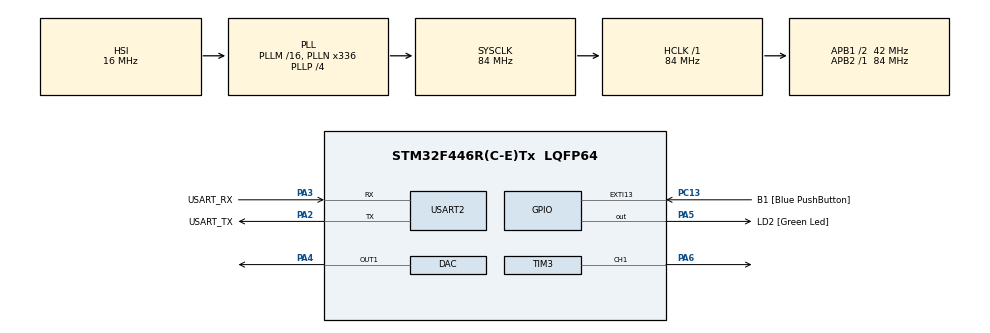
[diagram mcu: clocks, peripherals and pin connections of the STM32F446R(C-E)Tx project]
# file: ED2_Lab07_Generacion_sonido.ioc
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DAC.DAC_Trigger=DAC_TRIGGER_T6_TRGO
Dma.DAC1.0.Direction=DMA_MEMORY_TO_PERIPH
Dma.DAC1.0.FIFOMode=DMA_FIFOMODE_DISABLE
Dma.DAC1.0.Instance=DMA1_Stream5
Dma.DAC1.0.MemDataAlignment=DMA_MDATAALIGN_BYTE
Dma.DAC1.0.MemInc=DMA_MINC_ENABLE
Dma.DAC1.0.Mode=DMA_CIRCULAR
Dma.DAC1.0.PeriphDataAlignment=DMA_PDATAALIGN_BYTE
Dma.DAC1.0.PeriphInc=DMA_PINC_DISABLE
Dma.DAC1.0.Priority=DMA_PRIORITY_LOW
Dma.Request0=DAC1
Mcu.Family=STM32F4
Mcu.Name=STM32F446R(C-E)Tx
Mcu.Package=LQFP64
NVIC.DMA1_Stream5_IRQn=true\:0\:0\:false\:false\:true\:false\:true\:true
NVIC.PriorityGroup=NVIC_PRIORITYGROUP_0
PA13.GPIO_Label=TMS
PA13.Mode=Serial_Wire
PA13.Signal=SYS_JTMS-SWDIO
PA14.GPIO_Label=TCK
PA14.Mode=Serial_Wire
PA14.Signal=SYS_JTCK-SWCLK
PA2.GPIO_Label=USART_TX
PA2.Mode=Asynchronous
PA2.Signal=USART2_TX
PA3.GPIO_Label=USART_RX
PA3.Mode=Asynchronous
PA3.Signal=USART2_RX
PA4.Signal=COMP_DAC1_group
PA5.GPIO_Label=LD2 [Green Led]
PA5.Signal=GPIO_Output
PA6.Signal=S_TIM3_CH1
PB3.GPIO_Label=SWO
PB3.Signal=SYS_JTDO-SWO
PC13.GPIO_Label=B1 [Blue PushButton]
PC13.GPIO_ModeDefaultEXTI=GPIO_MODE_IT_FALLING
PC13.Signal=GPXTI13
PC14-OSC32_IN.Mode=LSE-External-Oscillator
PC14-OSC32_IN.Signal=RCC_OSC32_IN
PC15-OSC32_OUT.Mode=LSE-External-Oscillator
PC15-OSC32_OUT.Signal=RCC_OSC32_OUT
PH0-OSC_IN.Mode=HSE-External-Oscillator
PH0-OSC_IN.Signal=RCC_OSC_IN
PH1-OSC_OUT.Mode=HSE-External-Oscillator
PH1-OSC_OUT.Signal=RCC_OSC_OUT
ProjectManager.HeapSize=0x200
ProjectManager.StackSize=0x400
ProjectManager.TargetToolchain=STM32CubeIDE
RCC.48MHZClocksFreq_Value=84000000
RCC.AHBFreq_Value=84000000
RCC.APB1CLKDivider=RCC_HCLK_DIV2
RCC.APB1Freq_Value=42000000
RCC.APB1TimFreq_Value=84000000
RCC.APB2Freq_Value=84000000
RCC.APB2TimFreq_Value=84000000
RCC.CortexFreq_Value=84000000
RCC.FLatency-AdvancedSettings=FLASH_LATENCY_2
RCC.HCLKFreq_Value=84000000
RCC.HSE_VALUE=8000000
RCC.HSI_VALUE=16000000
RCC.PLLN=336
RCC.PLLP=RCC_PLLP_DIV4
RCC.SYSCLKFreq_VALUE=84000000
RCC.SYSCLKSource=RCC_SYSCLKSOURCE_PLLCLK
RCC.USBFreq_Value=168000000
RCC.VCOOutputFreq_Value=336000000
SH.COMP_DAC1_group.0=DAC_OUT1,DAC_OUT1
SH.S_TIM3_CH1.0=TIM3_CH1,PWM Generation1 CH1
TIM3.Channel-PWM\ Generation1\ CH1=TIM_CHANNEL_1
TIM3.Period=0
TIM3.Prescaler=83
TIM6.Period=100
TIM6.Prescaler=83
TIM6.TIM_MasterOutputTrigger=TIM_TRGO_UPDATE
USART2.VirtualMode=VM_ASYNC
VP_TIM3_VS_ClockSourceINT.Mode=Internal
VP_TIM6_VS_ClockSourceINT.Mode=Enable_Timer
board=NUCLEO-F446RE

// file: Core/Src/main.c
/* USER CODE BEGIN Header */
/**
  ******************************************************************************
  * @file           : main.c
  * @brief          : Main program body
  ******************************************************************************
  * @attention
  *
  * Copyright (c) 2026 STMicroelectronics.
  * All rights reserved.
  *
  * This software is licensed under terms that can be found in the LICENSE file
  * in the root directory of this software component.
  * If no LICENSE file comes with this software, it is provided AS-IS.
  *
  * Autor: David Carranza
  * Carnet: 23979
  *
  ******************************************************************************
  */
/* USER CODE END Header */
#include "main.h"

/* USER CODE BEGIN Includes */
#include <string.h>
#include <stdio.h>
/* USER CODE END Includes */

DAC_HandleTypeDef hdac;
DMA_HandleTypeDef hdma_dac1;

TIM_HandleTypeDef htim3;
TIM_HandleTypeDef htim6;

UART_HandleTypeDef huart2;

/* USER CODE BEGIN PV */
// Frecuencias exactas en Hz
#define NOTE_C4  262
#define NOTE_D4  294
#define NOTE_E4  330
#define NOTE_F4  349
#define NOTE_G4  392
#define NOTE_G4S 415 // Sol#
#define NOTE_A4  440
#define NOTE_AS4 466 // Sib
#define NOTE_B4  494
#define NOTE_C5  523
#define NOTE_D5  587
#define NOTE_E5  659
#define NOTE_F5  698
#define NOTE_G5  784
#define NOTE_A5  880
#define NOTE_B5  988
#define NOTE_C6  1047
#define REST     0

// Definición de tiempos para controlar la velocidad (ms)
// Tiempos específicos para el estilo "Opening" (Tempo: 110 BPM)
#define SP_L   700   // Larga (para el inicio lento)
#define SP_N   450   // Negra (velocidad normal del resto)
#define SP_C   225   // Corchea
#define SP_S   112   // Semicorchea
#define SIL    150   // Silencio de articulación

// Silencios para separar frases
#define SIL_C 273   // Silencio de corchea
#define SIL_N 545   // Silencio de negra

// Para Oogway (Lento/Solemne)
#define OG_N 800   // Negra
#define OG_C 400   // Corchea
#define OG_B 1600  // Blanca

// Tiempos para Heidi (Tempo 110 BPM)
#define H_S   136  // Semicorchea
#define H_C   273  // Corchea
#define H_CP  409  // Corchea con puntillo (1.5 * Corchea)
#define H_N   545  // Negra
#define H_B   1090 // Blanca
#define H_BP  1635 // Blanca con puntillo (1.5 * Blanca)
#define H_R   2180 // Redonda

typedef struct {
    uint16_t frequency;
    uint16_t duration_ms;
} Note;

// Cancion 1: Spider-Man (Ajustada al tutorial)
// Estructura de la canción mejorada
Note cancion_spiderman[] = {
    // --- INICIO LENTO Y SOLEMNE ---
    // MI SOL SI (Notas largas y separadas)
    {NOTE_E4, SP_L}, {REST, SIL}, {NOTE_G4, SP_L}, {REST, SIL}, {NOTE_B4, 1000}, {REST, 500},

    // LA SOL MI MI (Acento en el último MI)
    {NOTE_A4, SP_N}, {NOTE_G4, SP_C}, {NOTE_E4, SP_N}, {NOTE_E5, SP_L}, {REST, 500},

    // --- ENTRA EL RITMO CONSTANTE (Más rápido) ---
    // MI SOL SI LA SOL MI (Fluido)
    {NOTE_E4, SP_N}, {NOTE_G4, SP_C}, {NOTE_B4, SP_N}, {NOTE_A4, SP_C}, {NOTE_G4, SP_C}, {NOTE_E4, SP_N}, {REST, SIL},

    // MI SOL SI (Marcado)
    {NOTE_E4, SP_C}, {NOTE_G4, SP_C}, {NOTE_B4, SP_N}, {REST, SIL},

    // DO` SI LA SOL MI (Descenso rápido)
    {NOTE_C5, SP_S}, {NOTE_B4, SP_S}, {NOTE_A4, SP_S}, {NOTE_G4, SP_S}, {NOTE_E4, SP_C}, {REST, SIL},

    // LA DO` MI` RE` DO` LA (Clímax - notas muy picadas)
    {NOTE_A4, SP_C}, {NOTE_C5, SP_C}, {NOTE_E5, SP_N}, {NOTE_D5, SP_S}, {NOTE_C5, SP_S}, {NOTE_A4, SP_C}, {REST, SIL},

    // MI SOL SI (Retorno)
    {NOTE_E4, SP_C}, {NOTE_G4, SP_C}, {NOTE_B4, SP_N}, {REST, SIL},

    // DO` SI LA SOL MI (Velocidad normal)
    {NOTE_C5, SP_C}, {NOTE_B4, SP_C}, {NOTE_A4, SP_C}, {NOTE_G4, SP_C}, {NOTE_E4, SP_N}, {REST, SIL},

    // DO` SI (Final dramático)
    {NOTE_C5, SP_N}, {NOTE_B4, 1200}, {REST, 300},

    // LA LA SOL LA SOL MI
    {NOTE_A4, SP_C}, {NOTE_A4, SP_C}, {NOTE_G4, SP_C}, {NOTE_A4, SP_C}, {NOTE_G4, SP_C}, {NOTE_E4, 1500},

    {REST, 0}
};

// Cancion 2: Oogway Ascends (Ajustada al tempo solemne)
Note cancion_oogway[] = {
    {NOTE_D4, OG_N}, {NOTE_F4, OG_N}, {NOTE_D5, OG_N}, {NOTE_C5, OG_N}, {NOTE_A4, OG_B}, // Re Fa Re' Do' La
    {REST, OG_N},
    {NOTE_G4, OG_N}, {NOTE_A4, OG_N}, {NOTE_G4, OG_N}, {NOTE_F4, OG_N}, {NOTE_D4, OG_B}, // Sol La Sol Fa Re
    {REST, OG_N},
    {NOTE_F4, OG_N}, {NOTE_A4, OG_N}, {NOTE_F5, OG_N}, {NOTE_E5, OG_N}, {NOTE_C5, OG_B}, // Fa La Fa' Mi' Do'
    {NOTE_A4, OG_C}, {NOTE_G4, OG_C}, {NOTE_A4, OG_C}, {NOTE_C5, OG_C}, {NOTE_A4, OG_C}, {NOTE_G4, OG_B}, // La Sol La Do' La Sol
    {NOTE_A4, OG_C}, {NOTE_C5, OG_C}, {NOTE_D5, OG_N}, {NOTE_D5, OG_N}, {NOTE_C5, OG_C}, {NOTE_C5, OG_B}, // La Do' Re' Re' Do' Do'
    {NOTE_A4, OG_C}, {NOTE_C5, OG_C}, {NOTE_D5, OG_N}, {NOTE_AS4, OG_N}, {NOTE_A4, OG_N}, {NOTE_A4, OG_B}, // La Do' Re' Sib La La
    {REST, OG_N},
    {NOTE_A4, OG_C}, {NOTE_C5, OG_C}, {NOTE_D5, OG_N}, {NOTE_F5, OG_N}, {NOTE_D5, OG_N}, {NOTE_C5, OG_B}, // La Do' Re' Fa' Re' Do'
    {NOTE_A4, OG_C}, {NOTE_C5, OG_C}, {NOTE_G4, OG_N}, {NOTE_F4, OG_B}, // La Do' Sol Fa
    {NOTE_D4, OG_N}, {NOTE_F4, OG_N}, {NOTE_D4, OG_N}, {NOTE_C5, OG_B}, // Re Fa Re Do'
    {NOTE_A4, OG_C}, {NOTE_C5, OG_C}, {NOTE_G4, OG_N}, {NOTE_F4, OG_N}, {NOTE_D4, OG_B}, // La Do' Sol Fa Re
    {REST, 0}
};

// Cancion 3: Abulito dime tu (Heidy)
Note cancion_heidi[] = {
    {NOTE_E4, H_S}, {NOTE_F4, H_S},                         // MI FA (semi corcheas)
    {NOTE_G4, H_C}, {NOTE_G4, H_C}, {NOTE_G4, H_C}, {NOTE_E5, H_C}, // SOL SOL SOL MI' (Corcheas)
    {NOTE_C5, H_N}, {REST, H_C},                            // DO' (negra) + silencio corchea

    {NOTE_E4, H_S}, {NOTE_F4, H_S},                         // MI FA (semicorcheas)
    {NOTE_G4, H_C}, {NOTE_G4, H_C},                         // SOL SOL (Corchas)
    {NOTE_G4, H_CP}, {NOTE_G4, H_S},                        // SOL con puntillo, Sol semicorchea
    {NOTE_A4, H_C}, {NOTE_G4, H_C}, {NOTE_F4, H_C},         // LA SOL FA (corchea)

    {NOTE_D4, H_S}, {NOTE_E4, H_S},                         // RE MI (Semicorchea)
    {NOTE_F4, H_C}, {NOTE_F4, H_C}, {NOTE_F4, H_C}, {NOTE_D5, H_C}, // FA FA FA RE' (corchea)
    {NOTE_B4, H_N}, {REST, H_C},                            // Si (negra) + silencio corchea

    {NOTE_A4, H_C}, {NOTE_G4, H_N},                         // La (corchea), Sol negra
    {NOTE_G4, H_C}, {NOTE_D5, H_C}, {NOTE_E5, H_C}, {NOTE_D5, H_C}, // SOL RE' MI' RE' (corchea)
    {NOTE_C5, H_N},                                         // Do' negra

    {NOTE_F5, H_S}, {NOTE_F5, H_N},                         // Fa' (semicorchea), FA' Negra
    {NOTE_F5, H_S}, {NOTE_F5, H_N},                         // Fa' (semicorchea), FA' Negra
    {NOTE_A4, H_C}, {NOTE_A4, H_C}, {NOTE_E5, H_N},         // La La (corchea), MI' negra
    {NOTE_E5, H_C}, {NOTE_E5, (H_C + H_B)},                 // MI' corchea, MI' (corchea + blanca)

    {NOTE_D5, H_C}, {NOTE_D5, H_N},                         // RE' (corchea), RE' negra
    {NOTE_D5, H_C}, {NOTE_D5, H_N},                         // RE' (corchea), RE' negra
    {NOTE_D5, H_C}, {NOTE_F5, H_C}, {NOTE_E5, H_N},         // RE' FA' (corchea), MI' Negra
    {NOTE_D5, H_S}, {NOTE_C5, (H_S + H_N)},                 // RE' (semicorchea) DO' (semicorchea + negra)

    {NOTE_C5, H_S}, {NOTE_C5, H_S},                         // DO' DO' (Semicorchea)
    {NOTE_F5, H_S}, {NOTE_F5, (H_S + H_BP)},                // FA' (Semicorchea) FA' (semicorchea + blanca con puntillo)
    {REST, H_N},                                            // silencio de negra

    {NOTE_A4, H_N}, {NOTE_C5, H_N}, {NOTE_F5, H_N}, {NOTE_E5, H_N},
    {NOTE_E5, H_N}, {NOTE_D5, H_N}, {NOTE_D5, H_N},         // La do FA' MI' MI' RE' RE' (negra)
    {NOTE_C5, H_B}, {REST, H_N},                            // Do' blanca, silencio de negra

    // Sección de estribillo con alteraciones
    {NOTE_G4, H_CP}, {NOTE_G4S, H_S},                       // Sol (corchea con puntillo), Sol# (semicorechea)
    {NOTE_A4, H_C}, {NOTE_F5, H_C}, {NOTE_A4, H_C}, {NOTE_F5, H_C}, // LA FA' LA FA' (Corchea)
    {NOTE_A4, H_N},                                         // La negra

    {NOTE_A4, H_CP}, {NOTE_G4S, H_S},                       // La (corchea con puntillo), Sol# (semicorechea)
    {NOTE_G4, H_S}, {NOTE_E5, H_S}, {NOTE_G4, H_S}, {NOTE_E5, H_S}, // SOL MI' SOL MI' (semicorchea)
    {NOTE_G4, H_N},                                         // sol negra

    {NOTE_G4, H_CP}, {NOTE_G4S, H_S},                       // Sol (corchea con puntillo), Sol# (semicorechea)
    {NOTE_F4, H_N}, {NOTE_D5, H_N}, {NOTE_C5, H_N}, {NOTE_B4, H_N},
    {NOTE_C5, H_N}, {NOTE_D5, H_N}, {NOTE_E5, H_N},         // FA RE' DO' SI DO' RE' MI' (negra)

    {NOTE_G4, H_CP}, {NOTE_G4S, H_S},                       // Sol (corchea con puntillo), Sol# (semicorechea)
    {NOTE_A4, H_S}, {NOTE_F5, H_S}, {NOTE_A4, H_S}, {NOTE_F5, H_S}, // LA FA' LA FA' (Semicorchea)
    {NOTE_A4, H_N},                                         // La negra

    {NOTE_A4, H_CP}, {NOTE_G4S, H_S},                       // La (corchea con puntillo), Sol# (semicorechea)
    {NOTE_G4, H_S}, {NOTE_E5, H_S}, {NOTE_G4, H_S}, {NOTE_E5, H_S}, // SOL MI ' SOL MI' (semicorchea)
    {NOTE_G4, H_N},                                         // sol negra

    {NOTE_G4, H_CP}, {NOTE_G4S, H_S},                       // Sol (corchea con puntillo), Sol# (semicorechea)
    {NOTE_F4, H_N}, {NOTE_D5, H_N}, {NOTE_C5, H_N}, {NOTE_B4, H_N}, // Fa RE' DO' SI (negra)
    {NOTE_C5, H_R},                                         // Do' (redonda)
    {REST, 0}
};

char msg_menu[] = "\r\n--- Reproductor UVG ---\r\n1. Spider-Man (PWM)\r\n2. Oogway Ascends (PWM)\r\n3. Heidi (PWM)\r\n4. Oogway Ascends (DAC)\r\nSeleccion: ";uint8_t rx_data;

// Tabla senoidal de 8 bits (0-255)
const uint8_t sine_table[8] = {128, 218, 255, 218, 128, 37, 0, 37};
/* USER CODE END PV */

void SystemClock_Config(void);
static void MX_GPIO_Init(void);
static void MX_DMA_Init(void);
static void MX_TIM3_Init(void);
static void MX_USART2_UART_Init(void);
static void MX_DAC_Init(void);
static void MX_TIM6_Init(void);
/* USER CODE BEGIN PFP */
void Play_Tone(uint16_t frequency, uint16_t duration);
void Play_Song(Note song[]);
void Play_Oogway_DAC(Note *cancion);
/* USER CODE END PFP */

int main(void)
{

  /* MCU Configuration--------------------------------------------------------*/

  /* Reset of all peripherals, Initializes the Flash interface and the Systick. */
  HAL_Init();

  /* Configure the system clock */
  SystemClock_Config();

  /* Initialize all configured peripherals */
  MX_GPIO_Init();
  MX_DMA_Init();
  MX_TIM3_Init();
  MX_USART2_UART_Init();
  MX_DAC_Init();
  MX_TIM6_Init();

  /* Infinite loop */
  /* USER CODE BEGIN WHILE */
  while (1)
  {
	  // Enviar el menú a la terminal
      HAL_UART_Transmit(&huart2, (uint8_t*)msg_menu, strlen(msg_menu), 100);

      // Bloquear hasta recibir un carácter
      HAL_UART_Receive(&huart2, &rx_data, 1, HAL_MAX_DELAY);

      if (rx_data == '1') {
          HAL_UART_Transmit(&huart2, (uint8_t*)"\r\nReproduciendo Spider-Man...\r\n", 29, 100);
          HAL_TIM_PWM_Start(&htim3, TIM_CHANNEL_1);
          Play_Song(cancion_spiderman);
          HAL_TIM_PWM_Stop(&htim3, TIM_CHANNEL_1);
      }
      else if (rx_data == '2') {
          HAL_UART_Transmit(&huart2, (uint8_t*)"\r\nReproduciendo Oogway Ascends...\r\n", 34, 100);
          HAL_TIM_PWM_Start(&htim3, TIM_CHANNEL_1);
          Play_Song(cancion_oogway);
          HAL_TIM_PWM_Stop(&htim3, TIM_CHANNEL_1);
      }
      else if (rx_data == '3') {
    	  HAL_UART_Transmit(&huart2, (uint8_t*)"\r\nReproduciendo Abuelito Dime Tú (Heidy)...\r\n", 44, 100);
    	  HAL_TIM_PWM_Start(&htim3, TIM_CHANNEL_1);
    	  Play_Song(cancion_heidi);
    	  HAL_TIM_PWM_Stop(&htim3, TIM_CHANNEL_1);
      }
      else if (rx_data == '4') {
    	  HAL_UART_Transmit(&huart2, (uint8_t*)"\r\nOogway DAC (Seno)...\r\n", 24, 100);
    	  HAL_DAC_Start(&hdac, DAC_CHANNEL_1);
    	  Play_Oogway_DAC(cancion_oogway);
    	  HAL_DAC_Stop(&hdac, DAC_CHANNEL_1);
      }
      else {
          HAL_UART_Transmit(&huart2, (uint8_t*)"\r\nOpcion no valida.\r\n", 18, 100);
      }
    /* USER CODE END WHILE */

  }
}

void SystemClock_Config(void)
{
  RCC_OscInitTypeDef RCC_OscInitStruct = {0};
  RCC_ClkInitTypeDef RCC_ClkInitStruct = {0};

  /** Configure the main internal regulator output voltage
  */
  __HAL_RCC_PWR_CLK_ENABLE();
  __HAL_PWR_VOLTAGESCALING_CONFIG(PWR_REGULATOR_VOLTAGE_SCALE3);

  /** Initializes the RCC Oscillators according to the specified parameters
  * in the RCC_OscInitTypeDef structure.
  */
  RCC_OscInitStruct.OscillatorType = RCC_OSCILLATORTYPE_HSI;
  RCC_OscInitStruct.HSIState = RCC_HSI_ON;
  RCC_OscInitStruct.HSICalibrationValue = RCC_HSICALIBRATION_DEFAULT;
  RCC_OscInitStruct.PLL.PLLState = RCC_PLL_ON;
  RCC_OscInitStruct.PLL.PLLSource = RCC_PLLSOURCE_HSI;
  RCC_OscInitStruct.PLL.PLLM = 16;
  RCC_OscInitStruct.PLL.PLLN = 336;
  RCC_OscInitStruct.PLL.PLLP = RCC_PLLP_DIV4;
  RCC_OscInitStruct.PLL.PLLQ = 2;
  RCC_OscInitStruct.PLL.PLLR = 2;
  if (HAL_RCC_OscConfig(&RCC_OscInitStruct) != HAL_OK)
  {
    Error_Handler();
  }

  /** Initializes the CPU, AHB and APB buses clocks
  */
  RCC_ClkInitStruct.ClockType = RCC_CLOCKTYPE_HCLK|RCC_CLOCKTYPE_SYSCLK
                              |RCC_CLOCKTYPE_PCLK1|RCC_CLOCKTYPE_PCLK2;
  RCC_ClkInitStruct.SYSCLKSource = RCC_SYSCLKSOURCE_PLLCLK;
  RCC_ClkInitStruct.AHBCLKDivider = RCC_SYSCLK_DIV1;
  RCC_ClkInitStruct.APB1CLKDivider = RCC_HCLK_DIV2;
  RCC_ClkInitStruct.APB2CLKDivider = RCC_HCLK_DIV1;

  if (HAL_RCC_ClockConfig(&RCC_ClkInitStruct, FLASH_LATENCY_2) != HAL_OK)
  {
    Error_Handler();
  }
}

static void MX_DAC_Init(void)
{

  DAC_ChannelConfTypeDef sConfig = {0};

  /** DAC Initialization
  */
  hdac.Instance = DAC;
  if (HAL_DAC_Init(&hdac) != HAL_OK)
  {
    Error_Handler();
  }

  /** DAC channel OUT1 config
  */
  sConfig.DAC_Trigger = DAC_TRIGGER_T6_TRGO;
  sConfig.DAC_OutputBuffer = DAC_OUTPUTBUFFER_ENABLE;
  if (HAL_DAC_ConfigChannel(&hdac, &sConfig, DAC_CHANNEL_1) != HAL_OK)
  {
    Error_Handler();
  }

}

static void MX_TIM3_Init(void)
{

  TIM_ClockConfigTypeDef sClockSourceConfig = {0};
  TIM_MasterConfigTypeDef sMasterConfig = {0};
  TIM_OC_InitTypeDef sConfigOC = {0};

  htim3.Instance = TIM3;
  htim3.Init.Prescaler = 83;
  htim3.Init.CounterMode = TIM_COUNTERMODE_UP;
  htim3.Init.Period = 0;
  htim3.Init.ClockDivision = TIM_CLOCKDIVISION_DIV1;
  htim3.Init.AutoReloadPreload = TIM_AUTORELOAD_PRELOAD_DISABLE;
  if (HAL_TIM_Base_Init(&htim3) != HAL_OK)
  {
    Error_Handler();
  }
  sClockSourceConfig.ClockSource = TIM_CLOCKSOURCE_INTERNAL;
  if (HAL_TIM_ConfigClockSource(&htim3, &sClockSourceConfig) != HAL_OK)
  {
    Error_Handler();
  }
  if (HAL_TIM_PWM_Init(&htim3) != HAL_OK)
  {
    Error_Handler();
  }
  sMasterConfig.MasterOutputTrigger = TIM_TRGO_RESET;
  sMasterConfig.MasterSlaveMode = TIM_MASTERSLAVEMODE_DISABLE;
  if (HAL_TIMEx_MasterConfigSynchronization(&htim3, &sMasterConfig) != HAL_OK)
  {
    Error_Handler();
  }
  sConfigOC.OCMode = TIM_OCMODE_PWM1;
  sConfigOC.Pulse = 0;
  sConfigOC.OCPolarity = TIM_OCPOLARITY_HIGH;
  sConfigOC.OCFastMode = TIM_OCFAST_DISABLE;
  if (HAL_TIM_PWM_ConfigChannel(&htim3, &sConfigOC, TIM_CHANNEL_1) != HAL_OK)
  {
    Error_Handler();
  }
  HAL_TIM_MspPostInit(&htim3);

}

static void MX_TIM6_Init(void)
{

  TIM_MasterConfigTypeDef sMasterConfig = {0};

  htim6.Instance = TIM6;
  htim6.Init.Prescaler = 83;
  htim6.Init.CounterMode = TIM_COUNTERMODE_UP;
  htim6.Init.Period = 100;
  htim6.Init.AutoReloadPreload = TIM_AUTORELOAD_PRELOAD_DISABLE;
  if (HAL_TIM_Base_Init(&htim6) != HAL_OK)
  {
    Error_Handler();
  }
  sMasterConfig.MasterOutputTrigger = TIM_TRGO_UPDATE;
  sMasterConfig.MasterSlaveMode = TIM_MASTERSLAVEMODE_DISABLE;
  if (HAL_TIMEx_MasterConfigSynchronization(&htim6, &sMasterConfig) != HAL_OK)
  {
    Error_Handler();
  }

}

static void MX_USART2_UART_Init(void)
{

  huart2.Instance = USART2;
  huart2.Init.BaudRate = 115200;
  huart2.Init.WordLength = UART_WORDLENGTH_8B;
  huart2.Init.StopBits = UART_STOPBITS_1;
  huart2.Init.Parity = UART_PARITY_NONE;
  huart2.Init.Mode = UART_MODE_TX_RX;
  huart2.Init.HwFlowCtl = UART_HWCONTROL_NONE;
  huart2.Init.OverSampling = UART_OVERSAMPLING_16;
  if (HAL_UART_Init(&huart2) != HAL_OK)
  {
    Error_Handler();
  }

}

static void MX_DMA_Init(void)
{

  /* DMA controller clock enable */
  __HAL_RCC_DMA1_CLK_ENABLE();

  /* DMA interrupt init */
  /* DMA1_Stream5_IRQn interrupt configuration */
  HAL_NVIC_SetPriority(DMA1_Stream5_IRQn, 0, 0);
  HAL_NVIC_EnableIRQ(DMA1_Stream5_IRQn);

}

static void MX_GPIO_Init(void)
{
  GPIO_InitTypeDef GPIO_InitStruct = {0};

  /* GPIO Ports Clock Enable */
  __HAL_RCC_GPIOC_CLK_ENABLE();
  __HAL_RCC_GPIOH_CLK_ENABLE();
  __HAL_RCC_GPIOA_CLK_ENABLE();
  __HAL_RCC_GPIOB_CLK_ENABLE();

  /*Configure GPIO pin Output Level */
  HAL_GPIO_WritePin(LD2_GPIO_Port, LD2_Pin, GPIO_PIN_RESET);

  /*Configure GPIO pin : B1_Pin */
  GPIO_InitStruct.Pin = B1_Pin;
  GPIO_InitStruct.Mode = GPIO_MODE_IT_FALLING;
  GPIO_InitStruct.Pull = GPIO_NOPULL;
  HAL_GPIO_Init(B1_GPIO_Port, &GPIO_InitStruct);

  /*Configure GPIO pin : LD2_Pin */
  GPIO_InitStruct.Pin = LD2_Pin;
  GPIO_InitStruct.Mode = GPIO_MODE_OUTPUT_PP;
  GPIO_InitStruct.Pull = GPIO_NOPULL;
  GPIO_InitStruct.Speed = GPIO_SPEED_FREQ_LOW;
  HAL_GPIO_Init(LD2_GPIO_Port, &GPIO_InitStruct);

}

/* USER CODE BEGIN 4 */
void Play_Tone(uint16_t frequency, uint16_t duration) {
    if (frequency == REST) {
        __HAL_TIM_SET_COMPARE(&htim3, TIM_CHANNEL_1, 0);
    } else {
        // Como el timer corre a 1MHz (84MHz / 84), el ARR es 1,000,000 / frecuencia
        uint32_t arr_value = (1000000 / frequency) - 1;
        __HAL_TIM_SET_AUTORELOAD(&htim3, arr_value);
        __HAL_TIM_SET_COMPARE(&htim3, TIM_CHANNEL_1, arr_value / 2); // 50% Duty Cycle
    }
    HAL_Delay(duration);
    __HAL_TIM_SET_COMPARE(&htim3, TIM_CHANNEL_1, 0); // Silencio breve entre notas
    HAL_Delay(25);
}

void Play_Song(Note song[]) {
    int i = 0;
    while (song[i].duration_ms != 0) {
        Play_Tone(song[i].frequency, song[i].duration_ms);
        i++;
    }
}

void Play_Oogway_DAC(Note *cancion) {
    // 1. Iniciamos el DAC con DMA una sola vez
    // Esto vincula tu sine_table con el periférico DAC
    HAL_DAC_Start_DMA(&hdac, DAC_CHANNEL_1, (uint32_t*)sine_table, 32, DAC_ALIGN_8B_R);

    for (int i = 0; cancion[i].duration_ms != 0; i++) {
        uint32_t freq = cancion[i].frequency;
        uint32_t dur = cancion[i].duration_ms;

        if (freq == REST) {
            // Para silencios, bajamos el volumen (frecuencia muy baja o parar timer)
            HAL_TIM_Base_Stop(&htim6);
        } else {
            /* 2. CÁLCULO DEL ARR PARA EL TIMER 6
               Frecuencia de muestreo = Frecuencia_Nota * 32 muestras
               ARR = (Reloj_Timer / Freq_Muestreo) - 1
               Reloj_Timer = 1,000,000 (por el prescaler 83)
            */
            uint32_t sampling_freq = freq * 32;
            uint32_t arr_value = (1000000 / sampling_freq) - 1;

            __HAL_TIM_SET_AUTORELOAD(&htim6, arr_value);
            __HAL_TIM_SET_COUNTER(&htim6, 0); // Reiniciar conteo
            HAL_TIM_Base_Start(&htim6);       // Arrancar el metrónomo
        }

        HAL_Delay(dur);

        // Silencio breve (articulación)
        HAL_TIM_Base_Stop(&htim6);
        HAL_DAC_SetValue(&hdac, DAC_CHANNEL_1, DAC_ALIGN_8B_R, 128); // Punto medio (silencio analógico)
        HAL_Delay(20);
    }

    // 3. Al terminar la canción, apagamos todo
    HAL_DAC_Stop_DMA(&hdac, DAC_CHANNEL_1);
}
/* USER CODE END 4 */

void Error_Handler(void)
{
  __disable_irq();
  while (1)
  {
  }
}
